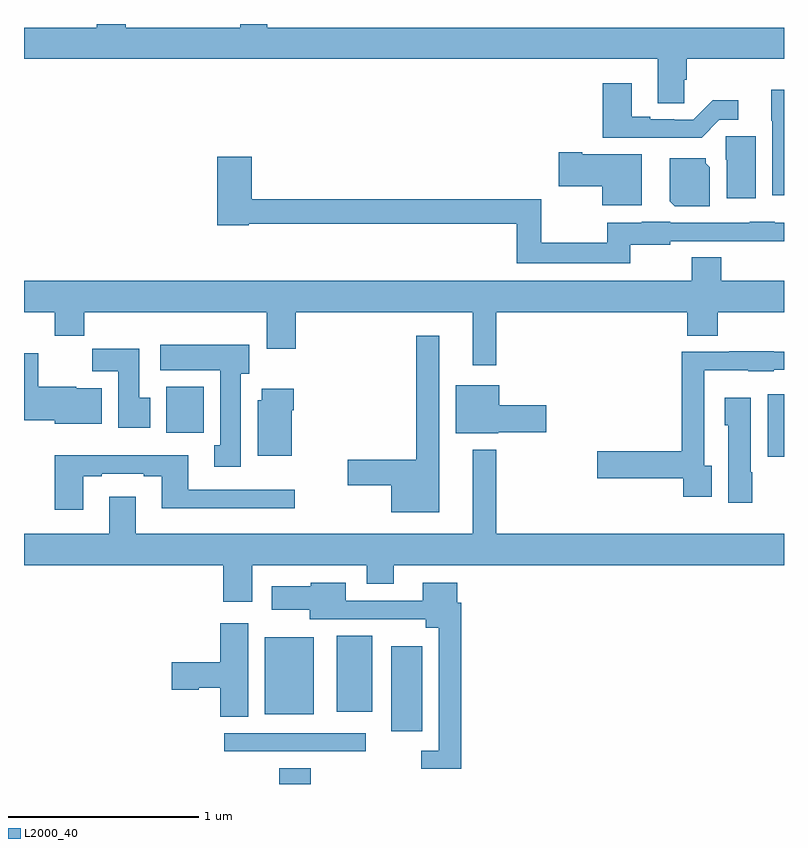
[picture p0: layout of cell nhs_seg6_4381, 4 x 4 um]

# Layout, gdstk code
import gdstk
lib = gdstk.Library(unit=1e-6, precision=1e-09)
def R(c, l, rs):  # rectangles x0, y0, x1, y1
    for r in rs: c.add(gdstk.rectangle(r[:2], r[2:], *l))
def P(c, l, *ps):  # polygons
    for p in ps: c.add(gdstk.Polygon(p, *l))
L2000_40 = (2000, 40)

nhs_seg6_4381 = lib.new_cell('nhs_seg6_4381')
R(nhs_seg6_4381, L2000_40, [(370.343,963.5,370.508,963.583), (370.053,963.672,370.798,963.768), (370.934,963.777,371.095,964.225), (370.268,963.866,370.525,964.273), (370.646,963.881,370.834,964.279), (372.914,965.223,373,965.551), (369.749,965.348,369.946,965.59)])
P(nhs_seg6_4381, L2000_40, [(372.474,967.206),(372.488,967.206),(372.488,967.316),(373,967.316),(373,967.48),(370.279,967.48),(370.279,967.5),(370.139,967.5),(370.139,967.48),(369.535,967.48),(369.535,967.5),(369.383,967.5),(369.383,967.48),(369,967.48),(369,967.316),(372.335,967.316),(372.335,967.084),(372.474,967.084)],
  [(372.66,966.996),(372.76,966.996),(372.76,967.099),(372.625,967.099),(372.522,966.996),(372.422,966.996),(372.422,966.999),(372.295,966.999),(372.295,967.012),(372.199,967.012),(372.199,967.189),(372.047,967.189),(372.047,966.902),(372.566,966.902)],
  [(373,967.153),(372.932,967.153),(372.932,966.99),(372.938,966.99),(372.938,966.6),(373,966.6)],
  [(372.85,966.909),(372.694,966.909),(372.694,966.786),(372.698,966.786),(372.698,966.582),(372.85,966.582)],
  [(372.25,966.814),(371.937,966.814),(371.937,966.824),(371.814,966.824),(371.814,966.646),(372.044,966.646),(372.044,966.545),(372.25,966.545)],
  [(372.19,966.338),(372.402,966.338),(372.402,966.357),(372.819,966.357),(372.819,966.356),(373,966.356),(373,966.454),(372.951,966.454),(372.951,966.46),(372.819,966.46),(372.819,966.453),(372.402,966.453),(372.402,966.46),(372.252,966.46),(372.252,966.454),(372.069,966.454),(372.069,966.349),(371.722,966.349),(371.722,966.578),(370.199,966.578),(370.199,966.802),(370.016,966.802),(370.016,966.442),(370.182,966.442),(370.182,966.45),(371.593,966.45),(371.593,966.24),(372.19,966.24)],
  [(372.61,966.746),(372.588,966.768),(372.588,966.793),(372.398,966.793),(372.398,966.568),(372.424,966.542),(372.61,966.542)],
  [(371.485,965.984),(372.491,965.984),(372.491,965.86),(372.651,965.86),(372.651,965.984),(373,965.984),(373,966.148),(372.669,966.148),(372.669,966.272),(372.514,966.272),(372.514,966.148),(369,966.148),(369,965.984),(369.161,965.984),(369.161,965.86),(369.317,965.86),(369.317,965.984),(370.277,965.984),(370.277,965.79),(370.43,965.79),(370.43,965.984),(371.363,965.984),(371.363,965.703),(371.485,965.703)],
  [(371.185,965.86),(371.064,965.86),(371.064,965.207),(370.704,965.207),(370.704,965.072),(370.934,965.072),(370.934,964.931),(371.185,964.931)],
  [(370.141,965.658),(370.186,965.658),(370.186,965.812),(369.717,965.812),(369.717,965.678),(370.034,965.678),(370.034,965.282),(370.001,965.282),(370.001,965.169),(370.141,965.169)],
  [(369.664,965.532),(369.607,965.532),(369.607,965.791),(369.358,965.791),(369.358,965.672),(369.497,965.672),(369.497,965.376),(369.664,965.376)],
  [(372.619,965.174),(372.579,965.174),(372.579,965.678),(372.813,965.678),(372.813,965.672),(372.945,965.672),(372.945,965.679),(373,965.679),(373,965.775),(372.945,965.775),(372.945,965.777),(372.713,965.777),(372.713,965.775),(372.463,965.775),(372.463,965.252),(372.018,965.252),(372.018,965.11),(372.471,965.11),(372.471,965.013),(372.619,965.013)],
  [(369.409,965.584),(369.276,965.584),(369.276,965.59),(369.076,965.59),(369.076,965.767),(369,965.767),(369,965.414),(369.162,965.414),(369.162,965.396),(369.409,965.396)],
  [(371.496,965.351),(371.749,965.351),(371.749,965.493),(371.5,965.493),(371.5,965.599),(371.273,965.599),(371.273,965.345),(371.496,965.345)],
  [(370.408,965.468),(370.421,965.468),(370.421,965.581),(370.25,965.581),(370.25,965.52),(370.229,965.52),(370.229,965.228),(370.408,965.228)],
  [(372.832,965.142),(372.826,965.142),(372.826,965.533),(372.689,965.533),(372.689,965.388),(372.707,965.388),(372.707,964.98),(372.832,964.98)],
  [(370.201,964.652),(370.805,964.652),(370.805,964.553),(370.945,964.553),(370.945,964.652),(373,964.652),(373,964.816),(371.485,964.816),(371.485,965.26),(371.363,965.26),(371.363,964.816),(369.589,964.816),(369.589,965.011),(369.449,965.011),(369.449,964.816),(369,964.816),(369,964.652),(370.049,964.652),(370.049,964.458),(370.201,964.458)],
  [(369.313,965.121),(369.409,965.121),(369.409,965.133),(369.629,965.133),(369.629,965.121),(369.725,965.121),(369.725,964.952),(370.426,964.952),(370.426,965.049),(369.865,965.049),(369.865,965.23),(369.161,965.23),(369.161,964.944),(369.313,964.944)],
  [(371.3,964.454),(371.281,964.454),(371.281,964.558),(371.099,964.558),(371.099,964.464),(370.693,964.464),(370.693,964.558),(370.509,964.558),(370.509,964.54),(370.305,964.54),(370.305,964.418),(370.505,964.418),(370.505,964.368),(371.114,964.368),(371.114,964.322),(371.184,964.322),(371.184,963.675),(371.091,963.675),(371.091,963.579),(371.3,963.579)],
  [(370.18,964.345),(370.034,964.345),(370.034,964.142),(369.777,964.142),(369.777,963.995),(369.92,963.995),(369.92,964.007),(370.034,964.007),(370.034,963.853),(370.18,963.853)])

lib.write_gds('nhs_seg6_4381.gds')
